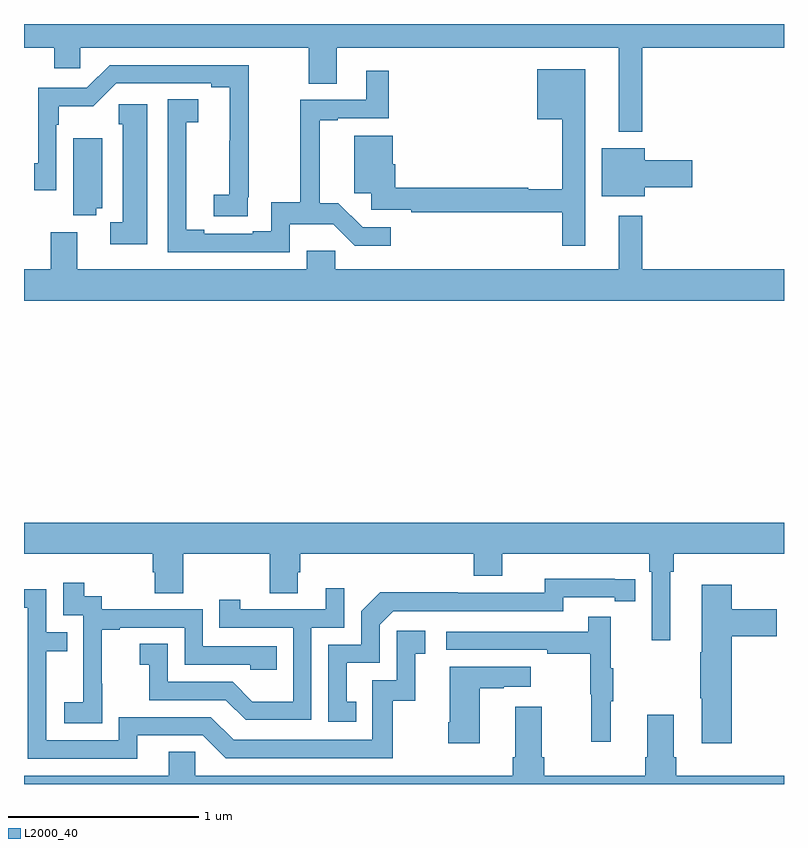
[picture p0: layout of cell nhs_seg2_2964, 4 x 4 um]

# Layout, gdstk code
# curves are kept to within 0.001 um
import gdstk
lib = gdstk.Library(unit=1e-6, precision=1e-09)
def P(c, l, *ps):  # polygons
    for p in ps: c.add(gdstk.Polygon(p, *l))
L2000_40 = (2000, 40)

nhs_seg2_2964 = lib.new_cell('nhs_seg2_2964')
P(nhs_seg2_2964, L2000_40, [(267,607.676),(267.158,607.676),(267.158,607.566),(267.297,607.566),(267.297,607.676),(268.498,607.676),(268.498,607.486),(268.645,607.486),(268.645,607.676),(270.131,607.676),(270.131,607.232),(270.253,607.232),(270.253,607.676),(271,607.676),(271,607.8),(267,607.8)],
  [(268.178,606.889),(268.184,606.889),(268.184,607.584),(267.45,607.584),(267.33,607.464),(267.075,607.464),(267.075,607.068),(267.054,607.068),(267.054,606.924),(267.171,606.924),(267.171,607.271),(267.184,607.271),(267.184,607.367),(267.365,607.367),(267.486,607.488),(267.986,607.488),(267.986,607.468),(268.082,607.468),(268.081,606.902),(267.999,606.902),(267.999,606.787),(268.178,606.787)],
  [(269.953,607.561),(269.702,607.561),(269.702,607.298),(269.832,607.298),(269.832,606.931),(269.653,606.931),(269.653,606.938),(268.955,606.938),(268.955,607.062),(268.942,607.062),(268.942,607.213),(268.739,607.213),(268.739,606.908),(268.827,606.908),(268.827,606.822),(269.038,606.822),(269.038,606.81),(269.832,606.81),(269.832,606.633),(269.953,606.633)],
  [(268.398,606.746),(268.627,606.746),(268.74,606.633),(268.93,606.633),(268.93,606.729),(268.782,606.729),(268.655,606.856),(268.556,606.856),(268.556,607.293),(268.651,607.293),(268.651,607.305),(268.919,607.305),(268.919,607.555),(268.802,607.555),(268.802,607.401),(268.453,607.401),(268.453,606.863),(268.302,606.863),(268.302,606.71),(268.205,606.71),(268.205,606.696),(267.949,606.696),(267.949,606.716),(267.853,606.716),(267.853,606.979),(267.855,606.979),(267.855,607.283),(267.916,607.283),(267.916,607.403),(267.756,607.403),(267.756,606.6),(268.398,606.6)],
  [(267.649,607.378),(267.499,607.378),(267.499,607.272),(267.521,607.272),(267.521,606.756),(267.453,606.756),(267.453,606.641),(267.649,606.641)],
  [(267.38,606.83),(267.412,606.83),(267.412,607.198),(267.26,607.198),(267.26,606.793),(267.38,606.793)],
  [(270.268,606.94),(270.517,606.94),(270.517,607.082),(270.268,607.082),(270.268,607.147),(270.041,607.147),(270.041,606.893),(270.268,606.893)],
  [(270.131,606.79),(270.131,606.508),(268.639,606.508),(268.639,606.606),(268.487,606.606),(268.487,606.508),(267.28,606.508),(267.28,606.703),(267.14,606.703),(267.14,606.508),(267,606.508),(267,606.344),(271,606.344),(271,606.508),(270.253,606.508),(270.253,606.79)],
  [(270.4,604.916),(270.419,604.916),(270.419,605.012),(271,605.012),(271,605.176),(267,605.176),(267,605.012),(267.677,605.012),(267.677,604.914),(267.689,604.914),(267.689,604.804),(267.837,604.804),(267.837,605.012),(268.294,605.012),(268.294,604.804),(268.441,604.804),(268.441,604.914),(268.454,604.914),(268.454,605.012),(269.366,605.012),(269.366,604.895),(269.518,604.895),(269.518,605.012),(270.29,605.012),(270.29,604.916),(270.303,604.916),(270.303,604.557),(270.4,604.557)],
  [(268.748,604.233),(268.699,604.233),(268.699,604.437),(268.872,604.437),(268.872,604.638),(268.944,604.71),(269.838,604.71),(269.838,604.782),(270.11,604.782),(270.11,604.762),(270.218,604.762),(270.218,604.878),(269.742,604.879),(269.742,604.806),(269.282,604.806),(269.282,604.808),(268.874,604.808),(268.776,604.71),(268.776,604.533),(268.602,604.533),(268.602,604.128),(268.748,604.128)],
  [(267.411,604.327),(267.41,604.327),(267.41,604.611),(267.505,604.611),(267.505,604.623),(267.846,604.623),(267.846,604.428),(268.191,604.428),(268.191,604.401),(268.331,604.401),(268.331,604.524),(267.942,604.524),(267.942,604.719),(267.408,604.719),(267.408,604.788),(267.316,604.788),(267.316,604.858),(267.207,604.858),(267.207,604.689),(267.312,604.689),(267.312,604.46),(267.311,604.46),(267.311,604.231),(267.213,604.231),(267.213,604.121),(267.411,604.121)],
  [(270.725,604.577),(270.961,604.577),(270.961,604.719),(270.725,604.719),(270.725,604.849),(270.566,604.849),(270.566,604.493),(270.559,604.493),(270.559,604.252),(270.566,604.252),(270.566,604.014),(270.725,604.014)],
  [(268.512,604.623),(268.686,604.623),(268.686,604.831),(268.589,604.831),(268.589,604.719),(268.138,604.719),(268.138,604.771),(268.027,604.771),(268.027,604.623),(268.416,604.623),(268.416,604.234),(268.202,604.234),(268.098,604.338),(267.756,604.338),(267.756,604.537),(267.609,604.537),(267.609,604.427),(267.658,604.427),(267.658,604.242),(268.061,604.242),(268.166,604.137),(268.512,604.137)],
  [(267.595,604.056),(267.942,604.056),(268.062,603.936),(268.942,603.936),(268.942,604.239),(269.06,604.239),(269.06,604.485),(269.113,604.485),(269.113,604.606),(268.962,604.606),(268.962,604.347),(268.833,604.347),(268.833,604.032),(268.104,604.032),(267.984,604.152),(267.498,604.152),(267.498,604.029),(267.117,604.029),(267.117,604.498),(267.227,604.498),(267.227,604.599),(267.117,604.599),(267.117,604.824),(267,604.824),(267,604.728),(267.021,604.728),(267.021,603.933),(267.595,603.933)],
  [(270.089,604.235),(270.1,604.235),(270.1,604.409),(270.089,604.409),(270.089,604.681),(269.971,604.681),(269.971,604.602),(269.223,604.602),(269.223,604.506),(269.755,604.506),(269.755,604.486),(269.979,604.486),(269.979,604.272),(269.986,604.272),(269.986,604.023),(270.089,604.023)],
  [(269.398,604.303),(269.525,604.303),(269.525,604.313),(269.668,604.313),(269.668,604.417),(269.24,604.417),(269.24,604.126),(269.233,604.126),(269.233,604.014),(269.398,604.014)],
  [(269.585,604.207),(269.585,603.94),(269.573,603.94),(269.573,603.844),(267.9,603.844),(267.9,603.971),(267.761,603.971),(267.761,603.844),(267,603.844),(267,603.8),(271,603.8),(271,603.844),(270.434,603.844),(270.434,603.94),(270.421,603.94),(270.421,604.165),(270.281,604.165),(270.281,603.94),(270.269,603.94),(270.269,603.844),(269.738,603.844),(269.738,603.94),(269.725,603.94),(269.725,604.207)])

lib.write_gds('nhs_seg2_2964.gds')
